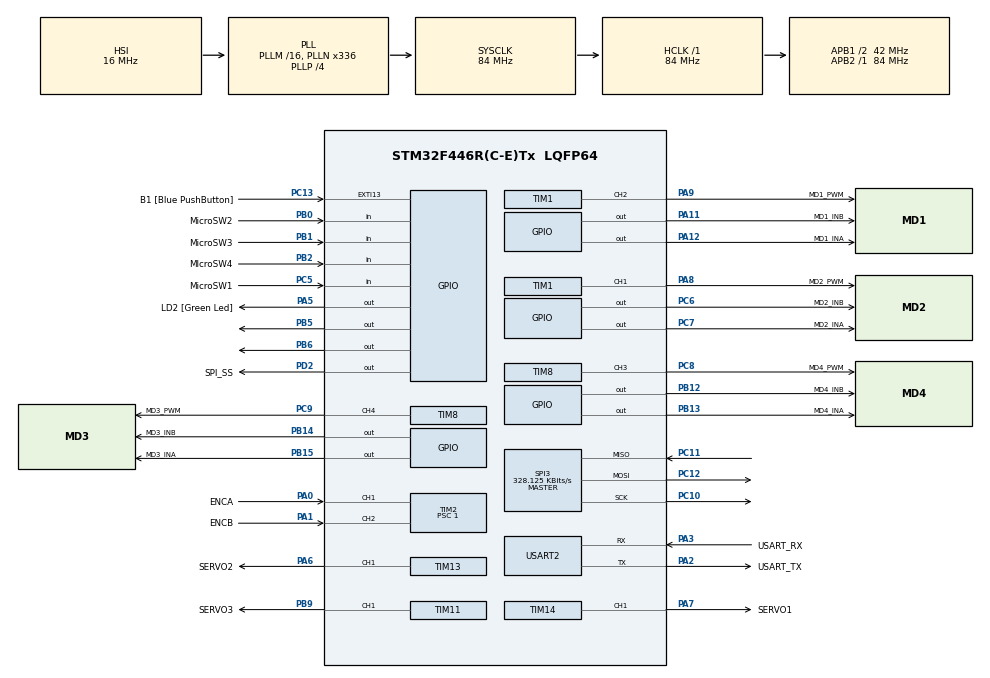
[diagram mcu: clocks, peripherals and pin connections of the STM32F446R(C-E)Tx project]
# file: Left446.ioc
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Mcu.Family=STM32F4
Mcu.Name=STM32F446R(C-E)Tx
Mcu.Package=LQFP64
NVIC.PriorityGroup=NVIC_PRIORITYGROUP_0
NVIC.TIM6_DAC_IRQn=true\:0\:0\:false\:false\:true\:true\:true
PA0-WKUP.GPIO_Label=ENCA
PA0-WKUP.Signal=S_TIM2_CH1_ETR
PA1.GPIO_Label=ENCB
PA1.Signal=S_TIM2_CH2
PA11.GPIO_Label=MD1_INB
PA11.Signal=GPIO_Output
PA12.GPIO_Label=MD1_INA
PA12.Signal=GPIO_Output
PA13.GPIO_Label=TMS
PA13.Mode=Serial_Wire
PA13.Signal=SYS_JTMS-SWDIO
PA14.GPIO_Label=TCK
PA14.Mode=Serial_Wire
PA14.Signal=SYS_JTCK-SWCLK
PA2.GPIO_Label=USART_TX
PA2.Mode=Asynchronous
PA2.Signal=USART2_TX
PA3.GPIO_Label=USART_RX
PA3.Mode=Asynchronous
PA3.Signal=USART2_RX
PA5.GPIO_Label=LD2 [Green Led]
PA5.Signal=GPIO_Output
PA6.GPIO_Label=SERVO2
PA6.Signal=S_TIM13_CH1
PA7.GPIO_Label=SERVO1
PA7.Signal=S_TIM14_CH1
PA8.GPIO_Label=MD2_PWM
PA8.Signal=S_TIM1_CH1
PA9.GPIO_Label=MD1_PWM
PA9.Signal=S_TIM1_CH2
PB0.GPIO_Label=MicroSW2
PB0.GPIO_PuPd=GPIO_PULLUP
PB0.Signal=GPIO_Input
PB1.GPIO_Label=MicroSW3
PB1.GPIO_PuPd=GPIO_PULLUP
PB1.Signal=GPIO_Input
PB12.GPIO_Label=MD4_INB
PB12.Signal=GPIO_Output
PB13.GPIO_Label=MD4_INA
PB13.Signal=GPIO_Output
PB14.GPIO_Label=MD3_INB
PB14.Signal=GPIO_Output
PB15.GPIO_Label=MD3_INA
PB15.Signal=GPIO_Output
PB2.GPIO_Label=MIcroSW4
PB2.GPIO_PuPd=GPIO_PULLUP
PB2.Signal=GPIO_Input
PB3.GPIO_Label=SWO
PB3.Signal=SYS_JTDO-SWO
PB5.Signal=GPIO_Output
PB6.Signal=GPIO_Output
PB9.GPIO_Label=SERVO3
PB9.Signal=S_TIM11_CH1
PC10.Mode=Full_Duplex_Master
PC10.Signal=SPI3_SCK
PC11.Mode=Full_Duplex_Master
PC11.Signal=SPI3_MISO
PC12.Mode=Full_Duplex_Master
PC12.Signal=SPI3_MOSI
PC13.GPIO_Label=B1 [Blue PushButton]
PC13.GPIO_ModeDefaultEXTI=GPIO_MODE_IT_FALLING
PC13.Signal=GPXTI13
PC14-OSC32_IN.Mode=LSE-External-Oscillator
PC14-OSC32_IN.Signal=RCC_OSC32_IN
PC15-OSC32_OUT.Mode=LSE-External-Oscillator
PC15-OSC32_OUT.Signal=RCC_OSC32_OUT
PC5.GPIO_Label=MicroSW1
PC5.GPIO_PuPd=GPIO_PULLUP
PC5.Signal=GPIO_Input
PC6.GPIO_Label=MD2_INB
PC6.Signal=GPIO_Output
PC7.GPIO_Label=MD2_INA
PC7.Signal=GPIO_Output
PC8.GPIO_Label=MD4_PWM
PC8.Signal=S_TIM8_CH3
PC9.GPIO_Label=MD3_PWM
PC9.Signal=S_TIM8_CH4
PD2.GPIO_Label=SPI_SS
PD2.Signal=GPIO_Output
PH0-OSC_IN.Mode=HSE-External-Oscillator
PH0-OSC_IN.Signal=RCC_OSC_IN
PH1-OSC_OUT.Mode=HSE-External-Oscillator
PH1-OSC_OUT.Signal=RCC_OSC_OUT
ProjectManager.HeapSize=0x200
ProjectManager.StackSize=0x400
ProjectManager.TargetToolchain=SW4STM32
RCC.48MHZClocksFreq_Value=84000000
RCC.AHBFreq_Value=84000000
RCC.APB1CLKDivider=RCC_HCLK_DIV2
RCC.APB1Freq_Value=42000000
RCC.APB1TimFreq_Value=84000000
RCC.APB2Freq_Value=84000000
RCC.APB2TimFreq_Value=84000000
RCC.CortexFreq_Value=84000000
RCC.FLatency-AdvancedSettings=FLASH_LATENCY_2
RCC.HCLKFreq_Value=84000000
RCC.HSE_VALUE=8000000
RCC.HSI_VALUE=16000000
RCC.PLLN=336
RCC.PLLP=RCC_PLLP_DIV4
RCC.SYSCLKFreq_VALUE=84000000
RCC.SYSCLKSource=RCC_SYSCLKSOURCE_PLLCLK
RCC.USBFreq_Value=168000000
RCC.VCOOutputFreq_Value=336000000
SH.S_TIM11_CH1.0=TIM11_CH1,PWM Generation1 CH1
SH.S_TIM13_CH1.0=TIM13_CH1,PWM Generation1 CH1
SH.S_TIM14_CH1.0=TIM14_CH1,PWM Generation1 CH1
SH.S_TIM1_CH1.0=TIM1_CH1,PWM Generation1 CH1
SH.S_TIM1_CH2.0=TIM1_CH2,PWM Generation2 CH2
SH.S_TIM2_CH1_ETR.0=TIM2_CH1,Encoder_Interface
SH.S_TIM2_CH2.0=TIM2_CH2,Encoder_Interface
SH.S_TIM8_CH3.0=TIM8_CH3,PWM Generation3 CH3
SH.S_TIM8_CH4.0=TIM8_CH4,PWM Generation4 CH4
SPI3.BaudRatePrescaler=SPI_BAUDRATEPRESCALER_128
SPI3.CLKPhase=SPI_PHASE_2EDGE
SPI3.CLKPolarity=SPI_POLARITY_HIGH
SPI3.CalculateBaudRate=328.125 KBits/s
SPI3.Direction=SPI_DIRECTION_2LINES
SPI3.FirstBit=SPI_FIRSTBIT_LSB
SPI3.Mode=SPI_MODE_MASTER
SPI3.VirtualType=VM_MASTER
TIM1.Channel-PWM\ Generation1\ CH1=TIM_CHANNEL_1
TIM1.Channel-PWM\ Generation2\ CH2=TIM_CHANNEL_2
TIM1.Period=999
TIM1.Prescaler=5
TIM10.Period=9999
TIM10.Prescaler=167
TIM11.Channel=TIM_CHANNEL_1
TIM11.Period=9999
TIM11.Prescaler=167
TIM13.Channel=TIM_CHANNEL_1
TIM13.Period=9999
TIM13.Prescaler=167
TIM14.Channel=TIM_CHANNEL_1
TIM14.Period=9999
TIM14.Prescaler=167
TIM2.Period=65535
TIM2.Prescaler=1
TIM6.Period=9999
TIM6.Prescaler=167
TIM8.Channel-PWM\ Generation3\ CH3=TIM_CHANNEL_3
TIM8.Channel-PWM\ Generation4\ CH4=TIM_CHANNEL_4
TIM8.Period=999
TIM8.Prescaler=5
USART2.VirtualMode=VM_ASYNC
VP_TIM10_VS_ClockSourceINT.Mode=Enable_Timer
VP_TIM11_VS_ClockSourceINT.Mode=Enable_Timer
VP_TIM13_VS_ClockSourceINT.Mode=Enable_Timer
VP_TIM14_VS_ClockSourceINT.Mode=Enable_Timer
VP_TIM6_VS_ClockSourceINT.Mode=Enable_Timer
board=NUCLEO-F446RE

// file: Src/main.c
/* USER CODE BEGIN Header */
/**
  ******************************************************************************
  * @file           : main.c
  * @brief          : Main program body
  ******************************************************************************
  * @attention
  *
  * <h2><center>&copy; Copyright (c) 2019 STMicroelectronics.
  * All rights reserved.</center></h2>
  *
  * This software component is licensed by ST under BSD 3-Clause license,
  * the "License"; You may not use this file except in compliance with the
  * License. You may obtain a copy of the License at:
  *                        opensource.org/licenses/BSD-3-Clause
  *
  ******************************************************************************
  */
/* USER CODE END Header */

#include "main.h"

/* USER CODE BEGIN Includes */
#include "controller.h"
#include "motor.h"
#include "servomotor.h"
#include "microswitch.h"
#include "robotstate.h"
#include "encoder.h"
/* USER CODE END Includes */

SPI_HandleTypeDef hspi3;

TIM_HandleTypeDef htim1;
TIM_HandleTypeDef htim2;
TIM_HandleTypeDef htim6;
TIM_HandleTypeDef htim8;
TIM_HandleTypeDef htim10;
TIM_HandleTypeDef htim11;
TIM_HandleTypeDef htim13;
TIM_HandleTypeDef htim14;

UART_HandleTypeDef huart2;

/* USER CODE BEGIN PV */
static char s[255] = {'\0'};
uint16_t flag;
int SERVO1_angle = SERVO1_ZERO_ANGLE;
int SERVO2_angle = SERVO2_ZERO_ANGLE;
//int SERVO3_angle = SERVO3_ZERO_ANGLE;
int PREV_SERVO1_angle = SERVO1_ZERO_ANGLE;
int PREV_SERVO2_angle = SERVO2_ZERO_ANGLE;

float current_pos = 0;
int L1_flag = 0;

/* USER CODE END PV */

void SystemClock_Config(void);
static void MX_GPIO_Init(void);
static void MX_SPI3_Init(void);
static void MX_TIM1_Init(void);
static void MX_TIM2_Init(void);
static void MX_TIM6_Init(void);
static void MX_TIM8_Init(void);
static void MX_TIM10_Init(void);
static void MX_TIM11_Init(void);
static void MX_TIM13_Init(void);
static void MX_TIM14_Init(void);
static void MX_USART2_UART_Init(void);

/* USER CODE BEGIN 0 */
void HAL_TIM_PeriodElapsedCallback(TIM_HandleTypeDef *htim){
	if(htim->Instance == TIM6){
		static uint16_t button_data = 0;
		//SPI communication with DUALSHOCK2
		//static uint16_t button_data = 0;
		//static uint16_t prev_button_data = 0;
		analog_stick_norm analog_left_norm, analog_right_norm;
		analog_stick_polar analog_left_polar, analog_right_polar;

		float COMBARE1_MD1_DUTY = 0.5f;
		float COMBARE2_MD2_DUTY = 0.5f;
		float PUSH_MD3_DUTY = 0.5f;
		float SELECT_MD4_DUTY = 0.5f;
//		#define MD1_ID		1		//奥側のコンベア
//		#define MD2_ID		2		//手前側のコンベア
//		#define MD3_ID		3		//プッシャー
//		#define MD4_ID		4		//仕分け
//		#define SERVO1_ID 10		//ワークを送り出すサーボ
//		#define SERVO2_ID 11		//ボックスはめのサーボ
//		#define SERVO3_ID 12		//予備(廃止されたサーボ)
		int SW1 = 0;
		int SW2 = 0;
		int SW3 = 0;
		int SW4 = 0;
		int servo_speed = 1;
		int servo_delay = 5;

		PSControllerGetData(&button_data, &analog_left_norm, &analog_right_norm, &analog_left_polar, &analog_right_polar);
		flag = filter(button_data, analog_left_norm, analog_right_norm, analog_left_polar, analog_right_polar);
		if(flag == 1){

			if(button_data == CONTOROLLER_LEFT){
				//左向き
				//コンベア２を左に動かす

				COMBARE2_MD2_DUTY = -0.7f;
				CoordinateSetDuty(COMBARE2_MD2_DUTY,MD2_ID);
			}else if(button_data == CONTOROLLER_RIGHT){
				//コンベア２を右向きに動かす

				COMBARE2_MD2_DUTY = 0.7f;
				CoordinateSetDuty(COMBARE2_MD2_DUTY,MD2_ID);
			}else if(button_data == CONTOROLLER_UP){
				//奥側
				//仕分けを奥側に動かす

				if(MicroSwitchIsOn(MICSW_SELECT_MAX) == MICROSW_OFF){
					SELECT_MD4_DUTY = 0.0f;
					CoordinateSetDuty(SELECT_MD4_DUTY,MD4_ID);
				}else{
					SELECT_MD4_DUTY = 0.55f;
					CoordinateSetDuty(SELECT_MD4_DUTY,MD4_ID);
				}
			}else if(button_data == CONTOROLLER_DOWN){
				//手前側
				//仕分けを手前側に動かす

				if(MicroSwitchIsOn(MICSW_SELECT_MIN) == MICROSW_OFF){
						SELECT_MD4_DUTY = 0.0f;
						CoordinateSetDuty(SELECT_MD4_DUTY,MD4_ID);
				}else{
					SELECT_MD4_DUTY = -0.55f;
					CoordinateSetDuty(SELECT_MD4_DUTY,MD4_ID);
				}
			}else if(button_data == CONTOROLLER_L1){
				//プッシャーが出入りする
				//正のDUTYが右に動く

				PUSH_MD3_DUTY = -0.5f;
				//CoordinateSetDuty(PUSH_MD3_DUTY,MD3_ID);
				ResetPush(PUSH_MD3_DUTY);
			}else if(button_data == CONTOROLLER_L2){
				//PUSH_MD3_DUTY = -0.5f;
				//CoordinateSetDuty(PUSH_MD3_DUTY,MD3_ID);
				//ResetPush(PUSH_MD3_DUTY);
			}else if(button_data == CONTOROLLER_START){
				//自動で一個取りした後にボックス送り爆速で回す

				COMBARE2_MD2_DUTY = -1.0f;
				CoordinateSetDuty(COMBARE2_MD2_DUTY,MD2_ID);
			}else if(button_data == CONTOROLLER_R1){
				//サーボ２（ボックスはめのサーボ）が90度回転

				servo_delay = 0;
				servo_speed = 1;
				if(L1_flag == 0){
					SERVO2_angle = fminf(fmaxf(90, SERVO2_MIN_ANGLE),SERVO2_MAX_ANGLE);
					ServoGradAngle(SERVO2_angle,PREV_SERVO2_angle,servo_speed,servo_delay,SERVO2_ID);
					PREV_SERVO2_angle = SERVO2_angle;
					L1_flag = 1;
				}else if(L1_flag == 1){
					SERVO2_angle = fminf(fmaxf(-90, SERVO2_MIN_ANGLE),SERVO2_MAX_ANGLE);
					ServoGradAngle(SERVO2_angle,PREV_SERVO2_angle,servo_speed,servo_delay,SERVO2_ID);
					PREV_SERVO2_angle = SERVO2_angle;
					L1_flag = 0;
				}
				//ServoGradAngle(,,3,3,SERVO2_ID);
			}else if(button_data == CONTOROLLER_SQUARE){
				//左向き
				//コンベア1（ボックス送り）が左向きに動く

				COMBARE1_MD1_DUTY = -0.5f;
				CoordinateSetDuty(COMBARE1_MD1_DUTY,MD1_ID);
			}else if(button_data == CONTOROLLER_CIRCLE){
				//右向き
				//コンベア１（ボックス送り）が右向きに動く

				COMBARE1_MD1_DUTY = 0.5f;
				CoordinateSetDuty(COMBARE1_MD1_DUTY,MD1_ID);
			}else if(button_data == CONTOROLLER_TRIANGLE){
				//サーボ１（ワーク送り）を倒す向きに動かす

				//ServoGradAngle(,,3,3,SERVO1_ID);
				SERVO1_angle = fminf((SERVO1_angle + 5), SERVO1_MAX_ANGLE);
			}else if(button_data == CONTOROLLER_CROSS){
				//サーボ１（ワーク送り）を起こす向きに動かす

				//ServoGradAngle(,,3,3,SERVO1_ID);
				SERVO1_angle = fmaxf((SERVO1_angle - 5), SERVO1_MIN_ANGLE);
			}else if(button_data == (CONTOROLLER_L1 + CONTOROLLER_L2 + CONTOROLLER_R1 + CONTOROLLER_R2)){
				//リセット動作
				//プッシャーを引っ込めてから（右に）、仕分けを一番手前に動かす

				while(MicroSwitchIsOn(MICSW_PUSH_MIN) == MICROSW_ON){
					PUSH_MD3_DUTY = 0.5f;
					//正で右向き
					CoordinateSetDuty(PUSH_MD3_DUTY, MD3_ID);
				}

				COMBARE1_MD1_DUTY = 0.0f;
				COMBARE2_MD2_DUTY = 0.0f;
				PUSH_MD3_DUTY = 	0.0f;
				SELECT_MD4_DUTY = 	0.0f;
				CoordinateSetDuty(COMBARE1_MD1_DUTY, MD1_ID);
				CoordinateSetDuty(COMBARE2_MD2_DUTY, MD2_ID);
				CoordinateSetDuty(PUSH_MD3_DUTY, MD3_ID);
				CoordinateSetDuty(SELECT_MD4_DUTY, MD4_ID);

				while(MicroSwitchIsOn(MICSW_SELECT_MIN) == MICROSW_ON){
					SELECT_MD4_DUTY = -0.5f;
					CoordinateSetDuty(SELECT_MD4_DUTY, MD4_ID);
				}

				COMBARE1_MD1_DUTY = 0.0f;
				COMBARE2_MD2_DUTY = 0.0f;
				PUSH_MD3_DUTY = 	0.0f;
				SELECT_MD4_DUTY = 	0.0f;
				CoordinateSetDuty(COMBARE1_MD1_DUTY, MD1_ID);
				CoordinateSetDuty(COMBARE2_MD2_DUTY, MD2_ID);
				CoordinateSetDuty(PUSH_MD3_DUTY, MD3_ID);
				CoordinateSetDuty(SELECT_MD4_DUTY, MD4_ID);

			}else{
				//ボタンを押してないときはストップ

				COMBARE1_MD1_DUTY = 0.0f;
				COMBARE2_MD2_DUTY = 0.0f;
				PUSH_MD3_DUTY = 	0.0f;
				SELECT_MD4_DUTY = 	0.0f;
				CoordinateSetDuty(COMBARE1_MD1_DUTY, MD1_ID);
				CoordinateSetDuty(COMBARE2_MD2_DUTY, MD2_ID);
				CoordinateSetDuty(PUSH_MD3_DUTY, MD3_ID);
				CoordinateSetDuty(SELECT_MD4_DUTY, MD4_ID);
			}
			ServoSetAngle(SERVO1_angle,SERVO1_ID);

			if(MicroSwitchIsOn(MICSW_PUSH_MAX) == MICROSW_OFF){
				SW1 = 1;
			}
			if(MicroSwitchIsOn(MICSW_PUSH_MIN) == MICROSW_OFF){
				SW2 = 1;
			}
			if(MicroSwitchIsOn(MICSW_SELECT_MAX) == MICROSW_OFF){
				SW3 = 1;
			}
			if(MicroSwitchIsOn(MICSW_SELECT_MIN) == MICROSW_OFF){
				SW4 = 1;
			}

	    	sprintf(s, "button_data: %d left_norm.x: %d angle1: %d angle2: %d cur_pos: %d SW: %d %d %d %d \r\n", (int)button_data,(int)(analog_right_norm.x*100.0),SERVO1_angle,SERVO2_angle,(int)(current_pos*1000.0),SW1,SW2,SW3,SW4);
	    	HAL_UART_Transmit(&huart2,(uint8_t *)s, strlen(s), 100);
		}
	}
}
/* USER CODE END 0 */

int main(void)
{

  /* MCU Configuration--------------------------------------------------------*/

  /* Reset of all peripherals, Initializes the Flash interface and the Systick. */
  HAL_Init();

  /* Configure the system clock */
  SystemClock_Config();

  /* Initialize all configured peripherals */
  MX_GPIO_Init();
  MX_SPI3_Init();
  MX_TIM1_Init();
  MX_TIM2_Init();
  MX_TIM6_Init();
  MX_TIM8_Init();
  MX_TIM10_Init();
  MX_TIM11_Init();
  MX_TIM13_Init();
  MX_TIM14_Init();
  MX_USART2_UART_Init();
  /* USER CODE BEGIN 2 */

  ServoEnable();

  CoordinateEnable();

  EncEnable();

  HAL_Delay(300);

  HAL_TIM_Base_Start_IT(&htim6);

  /* USER CODE END 2 */

  /* Infinite loop */
  while (1)
  {

  }
}

void SystemClock_Config(void)
{
  RCC_OscInitTypeDef RCC_OscInitStruct = {0};
  RCC_ClkInitTypeDef RCC_ClkInitStruct = {0};

  /** Configure the main internal regulator output voltage
  */
  __HAL_RCC_PWR_CLK_ENABLE();
  __HAL_PWR_VOLTAGESCALING_CONFIG(PWR_REGULATOR_VOLTAGE_SCALE3);
  /** Initializes the CPU, AHB and APB busses clocks
  */
  RCC_OscInitStruct.OscillatorType = RCC_OSCILLATORTYPE_HSI;
  RCC_OscInitStruct.HSIState = RCC_HSI_ON;
  RCC_OscInitStruct.HSICalibrationValue = RCC_HSICALIBRATION_DEFAULT;
  RCC_OscInitStruct.PLL.PLLState = RCC_PLL_ON;
  RCC_OscInitStruct.PLL.PLLSource = RCC_PLLSOURCE_HSI;
  RCC_OscInitStruct.PLL.PLLM = 16;
  RCC_OscInitStruct.PLL.PLLN = 336;
  RCC_OscInitStruct.PLL.PLLP = RCC_PLLP_DIV4;
  RCC_OscInitStruct.PLL.PLLQ = 2;
  RCC_OscInitStruct.PLL.PLLR = 2;
  if (HAL_RCC_OscConfig(&RCC_OscInitStruct) != HAL_OK)
  {
    Error_Handler();
  }
  /** Initializes the CPU, AHB and APB busses clocks
  */
  RCC_ClkInitStruct.ClockType = RCC_CLOCKTYPE_HCLK|RCC_CLOCKTYPE_SYSCLK
                              |RCC_CLOCKTYPE_PCLK1|RCC_CLOCKTYPE_PCLK2;
  RCC_ClkInitStruct.SYSCLKSource = RCC_SYSCLKSOURCE_PLLCLK;
  RCC_ClkInitStruct.AHBCLKDivider = RCC_SYSCLK_DIV1;
  RCC_ClkInitStruct.APB1CLKDivider = RCC_HCLK_DIV2;
  RCC_ClkInitStruct.APB2CLKDivider = RCC_HCLK_DIV1;

  if (HAL_RCC_ClockConfig(&RCC_ClkInitStruct, FLASH_LATENCY_2) != HAL_OK)
  {
    Error_Handler();
  }
}

static void MX_SPI3_Init(void)
{

  /* SPI3 parameter configuration*/
  hspi3.Instance = SPI3;
  hspi3.Init.Mode = SPI_MODE_MASTER;
  hspi3.Init.Direction = SPI_DIRECTION_2LINES;
  hspi3.Init.DataSize = SPI_DATASIZE_8BIT;
  hspi3.Init.CLKPolarity = SPI_POLARITY_HIGH;
  hspi3.Init.CLKPhase = SPI_PHASE_2EDGE;
  hspi3.Init.NSS = SPI_NSS_SOFT;
  hspi3.Init.BaudRatePrescaler = SPI_BAUDRATEPRESCALER_128;
  hspi3.Init.FirstBit = SPI_FIRSTBIT_LSB;
  hspi3.Init.TIMode = SPI_TIMODE_DISABLE;
  hspi3.Init.CRCCalculation = SPI_CRCCALCULATION_DISABLE;
  hspi3.Init.CRCPolynomial = 10;
  if (HAL_SPI_Init(&hspi3) != HAL_OK)
  {
    Error_Handler();
  }

}

static void MX_TIM1_Init(void)
{

  TIM_MasterConfigTypeDef sMasterConfig = {0};
  TIM_OC_InitTypeDef sConfigOC = {0};
  TIM_BreakDeadTimeConfigTypeDef sBreakDeadTimeConfig = {0};

  htim1.Instance = TIM1;
  htim1.Init.Prescaler = 5;
  htim1.Init.CounterMode = TIM_COUNTERMODE_UP;
  htim1.Init.Period = 999;
  htim1.Init.ClockDivision = TIM_CLOCKDIVISION_DIV1;
  htim1.Init.RepetitionCounter = 0;
  htim1.Init.AutoReloadPreload = TIM_AUTORELOAD_PRELOAD_DISABLE;
  if (HAL_TIM_PWM_Init(&htim1) != HAL_OK)
  {
    Error_Handler();
  }
  sMasterConfig.MasterOutputTrigger = TIM_TRGO_RESET;
  sMasterConfig.MasterSlaveMode = TIM_MASTERSLAVEMODE_DISABLE;
  if (HAL_TIMEx_MasterConfigSynchronization(&htim1, &sMasterConfig) != HAL_OK)
  {
    Error_Handler();
  }
  sConfigOC.OCMode = TIM_OCMODE_PWM1;
  sConfigOC.Pulse = 0;
  sConfigOC.OCPolarity = TIM_OCPOLARITY_HIGH;
  sConfigOC.OCNPolarity = TIM_OCNPOLARITY_HIGH;
  sConfigOC.OCFastMode = TIM_OCFAST_DISABLE;
  sConfigOC.OCIdleState = TIM_OCIDLESTATE_RESET;
  sConfigOC.OCNIdleState = TIM_OCNIDLESTATE_RESET;
  if (HAL_TIM_PWM_ConfigChannel(&htim1, &sConfigOC, TIM_CHANNEL_1) != HAL_OK)
  {
    Error_Handler();
  }
  if (HAL_TIM_PWM_ConfigChannel(&htim1, &sConfigOC, TIM_CHANNEL_2) != HAL_OK)
  {
    Error_Handler();
  }
  sBreakDeadTimeConfig.OffStateRunMode = TIM_OSSR_DISABLE;
  sBreakDeadTimeConfig.OffStateIDLEMode = TIM_OSSI_DISABLE;
  sBreakDeadTimeConfig.LockLevel = TIM_LOCKLEVEL_OFF;
  sBreakDeadTimeConfig.DeadTime = 0;
  sBreakDeadTimeConfig.BreakState = TIM_BREAK_DISABLE;
  sBreakDeadTimeConfig.BreakPolarity = TIM_BREAKPOLARITY_HIGH;
  sBreakDeadTimeConfig.AutomaticOutput = TIM_AUTOMATICOUTPUT_DISABLE;
  if (HAL_TIMEx_ConfigBreakDeadTime(&htim1, &sBreakDeadTimeConfig) != HAL_OK)
  {
    Error_Handler();
  }
  HAL_TIM_MspPostInit(&htim1);

}

static void MX_TIM2_Init(void)
{

  TIM_Encoder_InitTypeDef sConfig = {0};
  TIM_MasterConfigTypeDef sMasterConfig = {0};

  htim2.Instance = TIM2;
  htim2.Init.Prescaler = 1;
  htim2.Init.CounterMode = TIM_COUNTERMODE_UP;
  htim2.Init.Period = 65535;
  htim2.Init.ClockDivision = TIM_CLOCKDIVISION_DIV1;
  htim2.Init.AutoReloadPreload = TIM_AUTORELOAD_PRELOAD_DISABLE;
  sConfig.EncoderMode = TIM_ENCODERMODE_TI1;
  sConfig.IC1Polarity = TIM_ICPOLARITY_RISING;
  sConfig.IC1Selection = TIM_ICSELECTION_DIRECTTI;
  sConfig.IC1Prescaler = TIM_ICPSC_DIV1;
  sConfig.IC1Filter = 0;
  sConfig.IC2Polarity = TIM_ICPOLARITY_RISING;
  sConfig.IC2Selection = TIM_ICSELECTION_DIRECTTI;
  sConfig.IC2Prescaler = TIM_ICPSC_DIV1;
  sConfig.IC2Filter = 0;
  if (HAL_TIM_Encoder_Init(&htim2, &sConfig) != HAL_OK)
  {
    Error_Handler();
  }
  sMasterConfig.MasterOutputTrigger = TIM_TRGO_RESET;
  sMasterConfig.MasterSlaveMode = TIM_MASTERSLAVEMODE_DISABLE;
  if (HAL_TIMEx_MasterConfigSynchronization(&htim2, &sMasterConfig) != HAL_OK)
  {
    Error_Handler();
  }

}

static void MX_TIM6_Init(void)
{

  TIM_MasterConfigTypeDef sMasterConfig = {0};

  htim6.Instance = TIM6;
  htim6.Init.Prescaler = 167;
  htim6.Init.CounterMode = TIM_COUNTERMODE_UP;
  htim6.Init.Period = 9999;
  htim6.Init.AutoReloadPreload = TIM_AUTORELOAD_PRELOAD_DISABLE;
  if (HAL_TIM_Base_Init(&htim6) != HAL_OK)
  {
    Error_Handler();
  }
  sMasterConfig.MasterOutputTrigger = TIM_TRGO_RESET;
  sMasterConfig.MasterSlaveMode = TIM_MASTERSLAVEMODE_DISABLE;
  if (HAL_TIMEx_MasterConfigSynchronization(&htim6, &sMasterConfig) != HAL_OK)
  {
    Error_Handler();
  }

}

static void MX_TIM8_Init(void)
{

  TIM_MasterConfigTypeDef sMasterConfig = {0};
  TIM_OC_InitTypeDef sConfigOC = {0};
  TIM_BreakDeadTimeConfigTypeDef sBreakDeadTimeConfig = {0};

  htim8.Instance = TIM8;
  htim8.Init.Prescaler = 5;
  htim8.Init.CounterMode = TIM_COUNTERMODE_UP;
  htim8.Init.Period = 999;
  htim8.Init.ClockDivision = TIM_CLOCKDIVISION_DIV1;
  htim8.Init.RepetitionCounter = 0;
  htim8.Init.AutoReloadPreload = TIM_AUTORELOAD_PRELOAD_DISABLE;
  if (HAL_TIM_PWM_Init(&htim8) != HAL_OK)
  {
    Error_Handler();
  }
  sMasterConfig.MasterOutputTrigger = TIM_TRGO_RESET;
  sMasterConfig.MasterSlaveMode = TIM_MASTERSLAVEMODE_DISABLE;
  if (HAL_TIMEx_MasterConfigSynchronization(&htim8, &sMasterConfig) != HAL_OK)
  {
    Error_Handler();
  }
  sConfigOC.OCMode = TIM_OCMODE_PWM1;
  sConfigOC.Pulse = 0;
  sConfigOC.OCPolarity = TIM_OCPOLARITY_HIGH;
  sConfigOC.OCNPolarity = TIM_OCNPOLARITY_HIGH;
  sConfigOC.OCFastMode = TIM_OCFAST_DISABLE;
  sConfigOC.OCIdleState = TIM_OCIDLESTATE_RESET;
  sConfigOC.OCNIdleState = TIM_OCNIDLESTATE_RESET;
  if (HAL_TIM_PWM_ConfigChannel(&htim8, &sConfigOC, TIM_CHANNEL_3) != HAL_OK)
  {
    Error_Handler();
  }
  if (HAL_TIM_PWM_ConfigChannel(&htim8, &sConfigOC, TIM_CHANNEL_4) != HAL_OK)
  {
    Error_Handler();
  }
  sBreakDeadTimeConfig.OffStateRunMode = TIM_OSSR_DISABLE;
  sBreakDeadTimeConfig.OffStateIDLEMode = TIM_OSSI_DISABLE;
  sBreakDeadTimeConfig.LockLevel = TIM_LOCKLEVEL_OFF;
  sBreakDeadTimeConfig.DeadTime = 0;
  sBreakDeadTimeConfig.BreakState = TIM_BREAK_DISABLE;
  sBreakDeadTimeConfig.BreakPolarity = TIM_BREAKPOLARITY_HIGH;
  sBreakDeadTimeConfig.AutomaticOutput = TIM_AUTOMATICOUTPUT_DISABLE;
  if (HAL_TIMEx_ConfigBreakDeadTime(&htim8, &sBreakDeadTimeConfig) != HAL_OK)
  {
    Error_Handler();
  }
  HAL_TIM_MspPostInit(&htim8);

}

static void MX_TIM10_Init(void)
{

  htim10.Instance = TIM10;
  htim10.Init.Prescaler = 167;
  htim10.Init.CounterMode = TIM_COUNTERMODE_UP;
  htim10.Init.Period = 9999;
  htim10.Init.ClockDivision = TIM_CLOCKDIVISION_DIV1;
  htim10.Init.AutoReloadPreload = TIM_AUTORELOAD_PRELOAD_DISABLE;
  if (HAL_TIM_Base_Init(&htim10) != HAL_OK)
  {
    Error_Handler();
  }

}

static void MX_TIM11_Init(void)
{

  TIM_OC_InitTypeDef sConfigOC = {0};

  htim11.Instance = TIM11;
  htim11.Init.Prescaler = 167;
  htim11.Init.CounterMode = TIM_COUNTERMODE_UP;
  htim11.Init.Period = 9999;
  htim11.Init.ClockDivision = TIM_CLOCKDIVISION_DIV1;
  htim11.Init.AutoReloadPreload = TIM_AUTORELOAD_PRELOAD_DISABLE;
  if (HAL_TIM_Base_Init(&htim11) != HAL_OK)
  {
    Error_Handler();
  }
  if (HAL_TIM_PWM_Init(&htim11) != HAL_OK)
  {
    Error_Handler();
  }
  sConfigOC.OCMode = TIM_OCMODE_PWM1;
  sConfigOC.Pulse = 0;
  sConfigOC.OCPolarity = TIM_OCPOLARITY_HIGH;
  sConfigOC.OCFastMode = TIM_OCFAST_DISABLE;
  if (HAL_TIM_PWM_ConfigChannel(&htim11, &sConfigOC, TIM_CHANNEL_1) != HAL_OK)
  {
    Error_Handler();
  }
  HAL_TIM_MspPostInit(&htim11);

}

static void MX_TIM13_Init(void)
{

  TIM_OC_InitTypeDef sConfigOC = {0};

  htim13.Instance = TIM13;
  htim13.Init.Prescaler = 167;
  htim13.Init.CounterMode = TIM_COUNTERMODE_UP;
  htim13.Init.Period = 9999;
  htim13.Init.ClockDivision = TIM_CLOCKDIVISION_DIV1;
  htim13.Init.AutoReloadPreload = TIM_AUTORELOAD_PRELOAD_DISABLE;
  if (HAL_TIM_Base_Init(&htim13) != HAL_OK)
  {
    Error_Handler();
  }
  if (HAL_TIM_PWM_Init(&htim13) != HAL_OK)
  {
    Error_Handler();
  }
  sConfigOC.OCMode = TIM_OCMODE_PWM1;
  sConfigOC.Pulse = 0;
  sConfigOC.OCPolarity = TIM_OCPOLARITY_HIGH;
  sConfigOC.OCFastMode = TIM_OCFAST_DISABLE;
  if (HAL_TIM_PWM_ConfigChannel(&htim13, &sConfigOC, TIM_CHANNEL_1) != HAL_OK)
  {
    Error_Handler();
  }
  HAL_TIM_MspPostInit(&htim13);

}

static void MX_TIM14_Init(void)
{

  TIM_OC_InitTypeDef sConfigOC = {0};

  htim14.Instance = TIM14;
  htim14.Init.Prescaler = 167;
  htim14.Init.CounterMode = TIM_COUNTERMODE_UP;
  htim14.Init.Period = 9999;
  htim14.Init.ClockDivision = TIM_CLOCKDIVISION_DIV1;
  htim14.Init.AutoReloadPreload = TIM_AUTORELOAD_PRELOAD_DISABLE;
  if (HAL_TIM_Base_Init(&htim14) != HAL_OK)
  {
    Error_Handler();
  }
  if (HAL_TIM_PWM_Init(&htim14) != HAL_OK)
  {
    Error_Handler();
  }
  sConfigOC.OCMode = TIM_OCMODE_PWM1;
  sConfigOC.Pulse = 0;
  sConfigOC.OCPolarity = TIM_OCPOLARITY_HIGH;
  sConfigOC.OCFastMode = TIM_OCFAST_DISABLE;
  if (HAL_TIM_PWM_ConfigChannel(&htim14, &sConfigOC, TIM_CHANNEL_1) != HAL_OK)
  {
    Error_Handler();
  }
  HAL_TIM_MspPostInit(&htim14);

}

static void MX_USART2_UART_Init(void)
{

  huart2.Instance = USART2;
  huart2.Init.BaudRate = 115200;
  huart2.Init.WordLength = UART_WORDLENGTH_8B;
  huart2.Init.StopBits = UART_STOPBITS_1;
  huart2.Init.Parity = UART_PARITY_NONE;
  huart2.Init.Mode = UART_MODE_TX_RX;
  huart2.Init.HwFlowCtl = UART_HWCONTROL_NONE;
  huart2.Init.OverSampling = UART_OVERSAMPLING_16;
  if (HAL_UART_Init(&huart2) != HAL_OK)
  {
    Error_Handler();
  }

}

static void MX_GPIO_Init(void)
{
  GPIO_InitTypeDef GPIO_InitStruct = {0};

  /* GPIO Ports Clock Enable */
  __HAL_RCC_GPIOC_CLK_ENABLE();
  __HAL_RCC_GPIOH_CLK_ENABLE();
  __HAL_RCC_GPIOA_CLK_ENABLE();
  __HAL_RCC_GPIOB_CLK_ENABLE();
  __HAL_RCC_GPIOD_CLK_ENABLE();

  /*Configure GPIO pin Output Level */
  HAL_GPIO_WritePin(GPIOA, LD2_Pin|MD1_INB_Pin|MD1_INA_Pin, GPIO_PIN_RESET);

  /*Configure GPIO pin Output Level */
  HAL_GPIO_WritePin(GPIOB, MD4_INB_Pin|MD4_INA_Pin|MD3_INB_Pin|MD3_INA_Pin, GPIO_PIN_RESET);

  /*Configure GPIO pin Output Level */
  HAL_GPIO_WritePin(GPIOC, MD2_INB_Pin|MD2_INA_Pin, GPIO_PIN_RESET);

  /*Configure GPIO pin Output Level */
  HAL_GPIO_WritePin(SPI_SS_GPIO_Port, SPI_SS_Pin, GPIO_PIN_RESET);

  /*Configure GPIO pin : B1_Pin */
  GPIO_InitStruct.Pin = B1_Pin;
  GPIO_InitStruct.Mode = GPIO_MODE_IT_FALLING;
  GPIO_InitStruct.Pull = GPIO_NOPULL;
  HAL_GPIO_Init(B1_GPIO_Port, &GPIO_InitStruct);

  /*Configure GPIO pins : LD2_Pin MD1_INB_Pin MD1_INA_Pin */
  GPIO_InitStruct.Pin = LD2_Pin|MD1_INB_Pin|MD1_INA_Pin;
  GPIO_InitStruct.Mode = GPIO_MODE_OUTPUT_PP;
  GPIO_InitStruct.Pull = GPIO_NOPULL;
  GPIO_InitStruct.Speed = GPIO_SPEED_FREQ_LOW;
  HAL_GPIO_Init(GPIOA, &GPIO_InitStruct);

  /*Configure GPIO pin : MicroSW1_Pin */
  GPIO_InitStruct.Pin = MicroSW1_Pin;
  GPIO_InitStruct.Mode = GPIO_MODE_INPUT;
  GPIO_InitStruct.Pull = GPIO_PULLUP;
  HAL_GPIO_Init(MicroSW1_GPIO_Port, &GPIO_InitStruct);

  /*Configure GPIO pins : MicroSW2_Pin MicroSW3_Pin MIcroSW4_Pin */
  GPIO_InitStruct.Pin = MicroSW2_Pin|MicroSW3_Pin|MIcroSW4_Pin;
  GPIO_InitStruct.Mode = GPIO_MODE_INPUT;
  GPIO_InitStruct.Pull = GPIO_PULLUP;
  HAL_GPIO_Init(GPIOB, &GPIO_InitStruct);

  /*Configure GPIO pins : MD4_INB_Pin MD4_INA_Pin MD3_INB_Pin MD3_INA_Pin */
  GPIO_InitStruct.Pin = MD4_INB_Pin|MD4_INA_Pin|MD3_INB_Pin|MD3_INA_Pin;
  GPIO_InitStruct.Mode = GPIO_MODE_OUTPUT_PP;
  GPIO_InitStruct.Pull = GPIO_NOPULL;
  GPIO_InitStruct.Speed = GPIO_SPEED_FREQ_LOW;
  HAL_GPIO_Init(GPIOB, &GPIO_InitStruct);

  /*Configure GPIO pins : MD2_INB_Pin MD2_INA_Pin */
  GPIO_InitStruct.Pin = MD2_INB_Pin|MD2_INA_Pin;
  GPIO_InitStruct.Mode = GPIO_MODE_OUTPUT_PP;
  GPIO_InitStruct.Pull = GPIO_NOPULL;
  GPIO_InitStruct.Speed = GPIO_SPEED_FREQ_LOW;
  HAL_GPIO_Init(GPIOC, &GPIO_InitStruct);

  /*Configure GPIO pin : SPI_SS_Pin */
  GPIO_InitStruct.Pin = SPI_SS_Pin;
  GPIO_InitStruct.Mode = GPIO_MODE_OUTPUT_PP;
  GPIO_InitStruct.Pull = GPIO_NOPULL;
  GPIO_InitStruct.Speed = GPIO_SPEED_FREQ_LOW;
  HAL_GPIO_Init(SPI_SS_GPIO_Port, &GPIO_InitStruct);

}

void Error_Handler(void)
{
}

/************************ (C) COPYRIGHT STMicroelectronics *****END OF FILE****/
